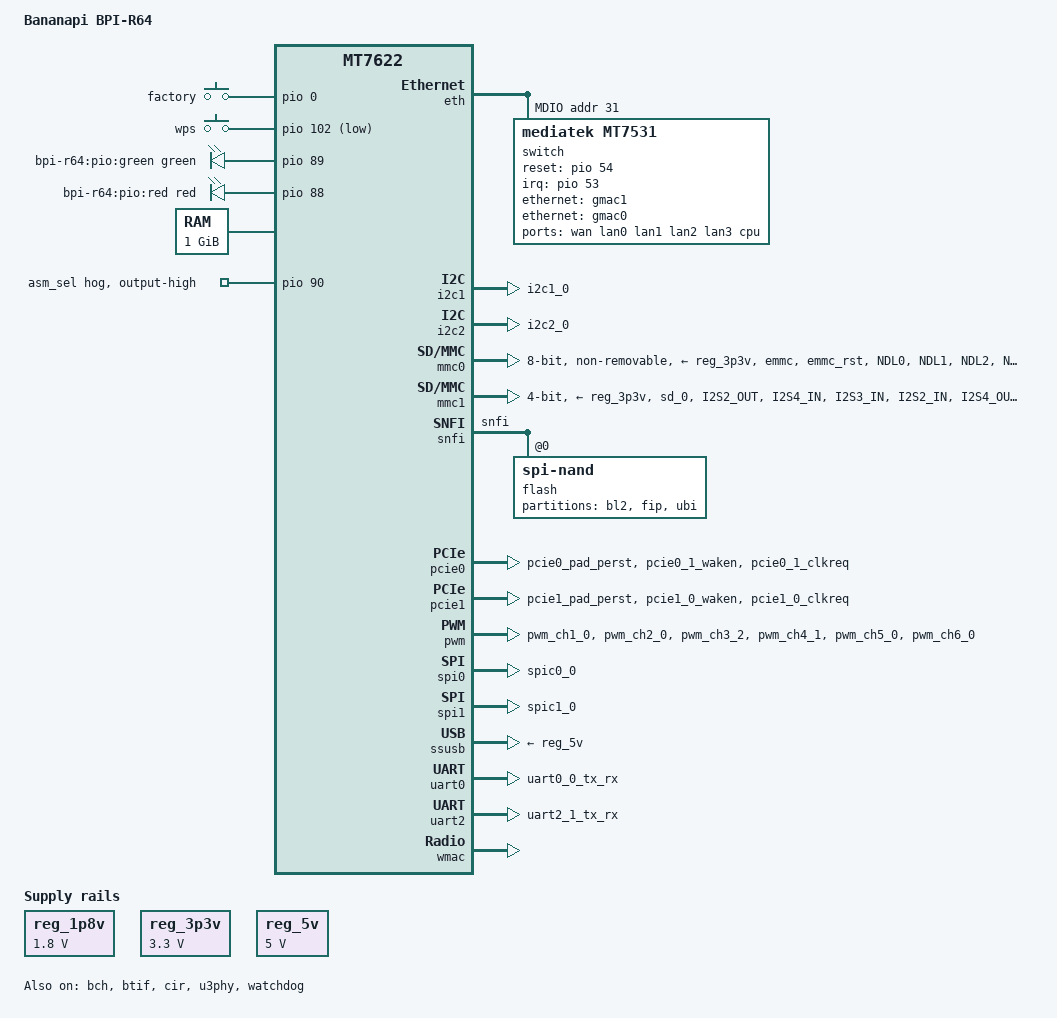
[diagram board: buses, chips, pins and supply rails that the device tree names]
/*
 * Copyright (c) 2018 MediaTek Inc.
 * Author: Ryder Lee <ryder.lee@mediatek.com>
 *
 * SPDX-License-Identifier: (GPL-2.0 OR MIT)
 */

/dts-v1/;
#include <dt-bindings/input/input.h>
#include <dt-bindings/gpio/gpio.h>
#include <dt-bindings/leds/common.h>

#include "mt7622.dtsi"
#include "mt6380.dtsi"

/ {
	model = "Bananapi BPI-R64";
	chassis-type = "embedded";
	compatible = "bananapi,bpi-r64", "mediatek,mt7622";

	aliases {
		serial0 = &uart0;
	};

	chosen {
		stdout-path = "serial0:115200n8";
		bootargs = "earlycon=uart8250,mmio32,0x11002000 swiotlb=512";
	};

	cpus {
		cpu@0 {
			proc-supply = <&mt6380_vcpu_reg>;
			sram-supply = <&mt6380_vm_reg>;
		};

		cpu@1 {
			proc-supply = <&mt6380_vcpu_reg>;
			sram-supply = <&mt6380_vm_reg>;
		};
	};

	gpio-keys {
		compatible = "gpio-keys";

		factory-key {
			label = "factory";
			linux,code = <BTN_0>;
			gpios = <&pio 0 GPIO_ACTIVE_HIGH>;
		};

		wps-key {
			label = "wps";
			linux,code = <KEY_WPS_BUTTON>;
			gpios = <&pio 102 GPIO_ACTIVE_LOW>;
		};
	};

	leds {
		compatible = "gpio-leds";

		led-0 {
			label = "bpi-r64:pio:green";
			color = <LED_COLOR_ID_GREEN>;
			gpios = <&pio 89 GPIO_ACTIVE_HIGH>;
			default-state = "off";
		};

		led-1 {
			label = "bpi-r64:pio:red";
			color = <LED_COLOR_ID_RED>;
			gpios = <&pio 88 GPIO_ACTIVE_HIGH>;
			default-state = "off";
		};
	};

	memory@40000000 {
		reg = <0 0x40000000 0 0x40000000>;
		device_type = "memory";
	};

	reg_1p8v: regulator-1p8v {
		compatible = "regulator-fixed";
		regulator-name = "fixed-1.8V";
		regulator-min-microvolt = <1800000>;
		regulator-max-microvolt = <1800000>;
		regulator-always-on;
	};

	reg_3p3v: regulator-3p3v {
		compatible = "regulator-fixed";
		regulator-name = "fixed-3.3V";
		regulator-min-microvolt = <3300000>;
		regulator-max-microvolt = <3300000>;
		regulator-boot-on;
		regulator-always-on;
	};

	reg_5v: regulator-5v {
		compatible = "regulator-fixed";
		regulator-name = "fixed-5V";
		regulator-min-microvolt = <5000000>;
		regulator-max-microvolt = <5000000>;
		regulator-boot-on;
		regulator-always-on;
	};
};

&bch {
	status = "disabled";
};

&btif {
	status = "okay";
};

&cir {
	pinctrl-names = "default";
	pinctrl-0 = <&irrx_pins>;
	status = "okay";
};

&eth {
	status = "okay";
	gmac0: mac@0 {
		compatible = "mediatek,eth-mac";
		reg = <0>;
		phy-mode = "2500base-x";

		fixed-link {
			speed = <2500>;
			full-duplex;
			pause;
		};
	};

	gmac1: mac@1 {
		compatible = "mediatek,eth-mac";
		reg = <1>;
		phy-mode = "rgmii";

		fixed-link {
			speed = <1000>;
			full-duplex;
			pause;
		};
	};

	mdio: mdio-bus {
		#address-cells = <1>;
		#size-cells = <0>;

		switch@1f {
			compatible = "mediatek,mt7531";
			reg = <0x1f>;
			interrupt-controller;
			#interrupt-cells = <1>;
			interrupts-extended = <&pio 53 IRQ_TYPE_LEVEL_HIGH>;
			reset-gpios = <&pio 54 0>;

			ports {
				#address-cells = <1>;
				#size-cells = <0>;

				port@0 {
					reg = <0>;
					label = "wan";
				};

				port@1 {
					reg = <1>;
					label = "lan0";
				};

				port@2 {
					reg = <2>;
					label = "lan1";
				};

				port@3 {
					reg = <3>;
					label = "lan2";
				};

				port@4 {
					reg = <4>;
					label = "lan3";
				};

				port@5 {
					reg = <5>;
					ethernet = <&gmac1>;
					phy-mode = "rgmii";

					fixed-link {
						speed = <1000>;
						full-duplex;
						pause;
					};
				};

				port@6 {
					reg = <6>;
					label = "cpu";
					ethernet = <&gmac0>;
					phy-mode = "2500base-x";

					fixed-link {
						speed = <2500>;
						full-duplex;
						pause;
					};
				};
			};
		};

	};
};

&i2c1 {
	pinctrl-names = "default";
	pinctrl-0 = <&i2c1_pins>;
	status = "okay";
};

&i2c2 {
	pinctrl-names = "default";
	pinctrl-0 = <&i2c2_pins>;
	status = "okay";
};

&mmc0 {
	pinctrl-names = "default", "state_uhs";
	pinctrl-0 = <&emmc_pins_default>;
	pinctrl-1 = <&emmc_pins_uhs>;
	status = "okay";
	bus-width = <8>;
	max-frequency = <50000000>;
	cap-mmc-highspeed;
	mmc-hs200-1_8v;
	vmmc-supply = <&reg_3p3v>;
	vqmmc-supply = <&reg_1p8v>;
	assigned-clocks = <&topckgen CLK_TOP_MSDC30_0_SEL>;
	assigned-clock-parents = <&topckgen CLK_TOP_UNIV48M>;
	non-removable;
};

&mmc1 {
	pinctrl-names = "default", "state_uhs";
	pinctrl-0 = <&sd0_pins_default>;
	pinctrl-1 = <&sd0_pins_uhs>;
	status = "okay";
	bus-width = <4>;
	max-frequency = <50000000>;
	cap-sd-highspeed;
	cd-gpios = <&pio 81 GPIO_ACTIVE_LOW>;
	vmmc-supply = <&reg_3p3v>;
	vqmmc-supply = <&reg_3p3v>;
	assigned-clocks = <&topckgen CLK_TOP_MSDC30_1_SEL>;
	assigned-clock-parents = <&topckgen CLK_TOP_UNIV48M>;
};

&nandc {
	pinctrl-names = "default";
	pinctrl-0 = <&parallel_nand_pins>;
	status = "disabled";
};

&bch {
	status = "okay";
};

&snfi {
	pinctrl-names = "default";
	pinctrl-0 = <&serial_nand_pins>;
	status = "okay";
	flash@0 {
		compatible = "spi-nand";
		reg = <0>;
		spi-tx-bus-width = <4>;
		spi-rx-bus-width = <4>;
		nand-ecc-engine = <&snfi>;
		partitions {
			compatible = "fixed-partitions";
			#address-cells = <1>;
			#size-cells = <1>;

			partition@0 {
				label = "bl2";
				reg = <0x0 0x80000>;
				read-only;
			};

			partition@80000 {
				label = "fip";
				reg = <0x80000 0x200000>;
				read-only;
			};

			ubi: partition@280000 {
				label = "ubi";
				reg = <0x280000 0x7d80000>;
			};
		};
	};
};

&pcie0 {
	pinctrl-names = "default";
	pinctrl-0 = <&pcie0_pins>;
	status = "okay";
};

&pcie1 {
	pinctrl-names = "default";
	pinctrl-0 = <&pcie1_pins>;
	status = "okay";
};

&pio {
	/* Attention: GPIO 90 is used to switch between PCIe@1,0 and
	 * SATA functions. i.e. output-high: PCIe, output-low: SATA
	 */
	asm_sel {
		gpio-hog;
		gpios = <90 GPIO_ACTIVE_HIGH>;
		output-high;
	};

	/* eMMC is shared pin with parallel NAND */
	emmc_pins_default: emmc-pins-default {
		mux {
			function = "emmc";
			groups = "emmc", "emmc_rst";
		};

		/* "NDL0","NDL1","NDL2","NDL3","NDL4","NDL5","NDL6","NDL7",
		 * "NRB","NCLE" pins are used as DAT0,DAT1,DAT2,DAT3,DAT4,
		 * DAT5,DAT6,DAT7,CMD,CLK for eMMC respectively
		 */
		conf-cmd-dat {
			pins = "NDL0", "NDL1", "NDL2",
			       "NDL3", "NDL4", "NDL5",
			       "NDL6", "NDL7", "NRB";
			input-enable;
			bias-pull-up;
		};

		conf-clk {
			pins = "NCLE";
			bias-pull-down;
		};
	};

	emmc_pins_uhs: emmc-pins-uhs {
		mux {
			function = "emmc";
			groups = "emmc";
		};

		conf-cmd-dat {
			pins = "NDL0", "NDL1", "NDL2",
			       "NDL3", "NDL4", "NDL5",
			       "NDL6", "NDL7", "NRB";
			input-enable;
			drive-strength = <4>;
			bias-pull-up;
		};

		conf-clk {
			pins = "NCLE";
			drive-strength = <4>;
			bias-pull-down;
		};
	};

	eth_pins: eth-pins {
		mux {
			function = "eth";
			groups = "mdc_mdio", "rgmii_via_gmac2";
		};
	};

	i2c1_pins: i2c1-pins {
		mux {
			function = "i2c";
			groups = "i2c1_0";
		};
	};

	i2c2_pins: i2c2-pins {
		mux {
			function = "i2c";
			groups = "i2c2_0";
		};
	};

	i2s1_pins: i2s1-pins {
		mux {
			function = "i2s";
			groups = "i2s_out_mclk_bclk_ws",
				 "i2s1_in_data",
				 "i2s1_out_data";
		};

		conf {
			pins = "I2S1_IN", "I2S1_OUT", "I2S_BCLK",
			       "I2S_WS", "I2S_MCLK";
			drive-strength = <12>;
			bias-pull-down;
		};
	};

	irrx_pins: irrx-pins {
		mux {
			function = "ir";
			groups = "ir_1_rx";
		};
	};

	irtx_pins: irtx-pins {
		mux {
			function = "ir";
			groups = "ir_1_tx";
		};
	};

	/* Parallel nand is shared pin with eMMC */
	parallel_nand_pins: parallel-nand-pins {
		mux {
			function = "flash";
			groups = "par_nand";
		};
	};

	pcie0_pins: pcie0-pins {
		mux {
			function = "pcie";
			groups = "pcie0_pad_perst",
				 "pcie0_1_waken",
				 "pcie0_1_clkreq";
		};
	};

	pcie1_pins: pcie1-pins {
		mux {
			function = "pcie";
			groups = "pcie1_pad_perst",
				 "pcie1_0_waken",
				 "pcie1_0_clkreq";
		};
	};

	pmic_bus_pins: pmic-bus-pins {
		mux {
			function = "pmic";
			groups = "pmic_bus";
		};
	};

	pwm_pins: pwm-pins {
		mux {
			function = "pwm";
			groups = "pwm_ch1_0", /* mt7622_pwm_ch1_0_pins[] = { 51, }; */
				 "pwm_ch2_0", /* mt7622_pwm_ch2_0_pins[] = { 52, }; */
				 "pwm_ch3_2", /* mt7622_pwm_ch3_2_pins[] = { 97, }; */
				 "pwm_ch4_1", /* mt7622_pwm_ch4_1_pins[] = { 67, }; */
				 "pwm_ch5_0", /* mt7622_pwm_ch5_0_pins[] = { 68, }; */
				 "pwm_ch6_0"; /* mt7622_pwm_ch6_0_pins[] = { 69, }; */
		};
	};

	wled_pins: wled-pins {
		mux {
			function = "led";
			groups = "wled";
		};
	};

	sd0_pins_default: sd0-pins-default {
		mux {
			function = "sd";
			groups = "sd_0";
		};

		/* "I2S2_OUT, "I2S4_IN"", "I2S3_IN", "I2S2_IN",
		 *  "I2S4_OUT", "I2S3_OUT" are used as DAT0, DAT1,
		 *  DAT2, DAT3, CMD, CLK for SD respectively.
		 */
		conf-cmd-data {
			pins = "I2S2_OUT", "I2S4_IN", "I2S3_IN",
			       "I2S2_IN","I2S4_OUT";
			input-enable;
			drive-strength = <8>;
			bias-pull-up;
		};
		conf-clk {
			pins = "I2S3_OUT";
			drive-strength = <12>;
			bias-pull-down;
		};
		conf-cd {
			pins = "TXD3";
			bias-pull-up;
		};
	};

	sd0_pins_uhs: sd0-pins-uhs {
		mux {
			function = "sd";
			groups = "sd_0";
		};

		conf-cmd-data {
			pins = "I2S2_OUT", "I2S4_IN", "I2S3_IN",
			       "I2S2_IN","I2S4_OUT";
			input-enable;
			bias-pull-up;
		};

		conf-clk {
			pins = "I2S3_OUT";
			bias-pull-down;
		};
	};

	/* Serial NAND is shared pin with SPI-NOR */
	serial_nand_pins: serial-nand-pins {
		mux {
			function = "flash";
			groups = "snfi";
		};
	};

	spic0_pins: spic0-pins {
		mux {
			function = "spi";
			groups = "spic0_0";
		};
	};

	spic1_pins: spic1-pins {
		mux {
			function = "spi";
			groups = "spic1_0";
		};
	};

	/* SPI-NOR is shared pin with serial NAND */
	spi_nor_pins: spi-nor-pins {
		mux {
			function = "flash";
			groups = "spi_nor";
		};
	};

	/* serial NAND is shared pin with SPI-NOR */
	serial_nand_pins: serial-nand-pins {
		mux {
			function = "flash";
			groups = "snfi";
		};
	};

	uart0_pins: uart0-pins {
		mux {
			function = "uart";
			groups = "uart0_0_tx_rx" ;
		};
	};

	uart2_pins: uart2-pins {
		mux {
			function = "uart";
			groups = "uart2_1_tx_rx" ;
		};
	};

	watchdog_pins: watchdog-pins {
		mux {
			function = "watchdog";
			groups = "watchdog";
		};
	};
};

&pwm {
	pinctrl-names = "default";
	pinctrl-0 = <&pwm_pins>;
	status = "okay";
};

&pwrap {
	pinctrl-names = "default";
	pinctrl-0 = <&pmic_bus_pins>;

	status = "okay";
};

&sata {
	status = "disabled";
};

&sata_phy {
	status = "disabled";
};

&spi0 {
	pinctrl-names = "default";
	pinctrl-0 = <&spic0_pins>;
	status = "okay";
};

&spi1 {
	pinctrl-names = "default";
	pinctrl-0 = <&spic1_pins>;
};

&ssusb {
	vusb33-supply = <&reg_3p3v>;
	vbus-supply = <&reg_5v>;
	status = "okay";
};

&u3phy {
	status = "okay";
};

&uart0 {
	pinctrl-names = "default";
	pinctrl-0 = <&uart0_pins>;
	status = "okay";
};

&uart2 {
	pinctrl-names = "default";
	pinctrl-0 = <&uart2_pins>;
};

&watchdog {
	pinctrl-names = "default";
	pinctrl-0 = <&watchdog_pins>;
	status = "okay";
};

&wmac {
	status = "okay";
};
